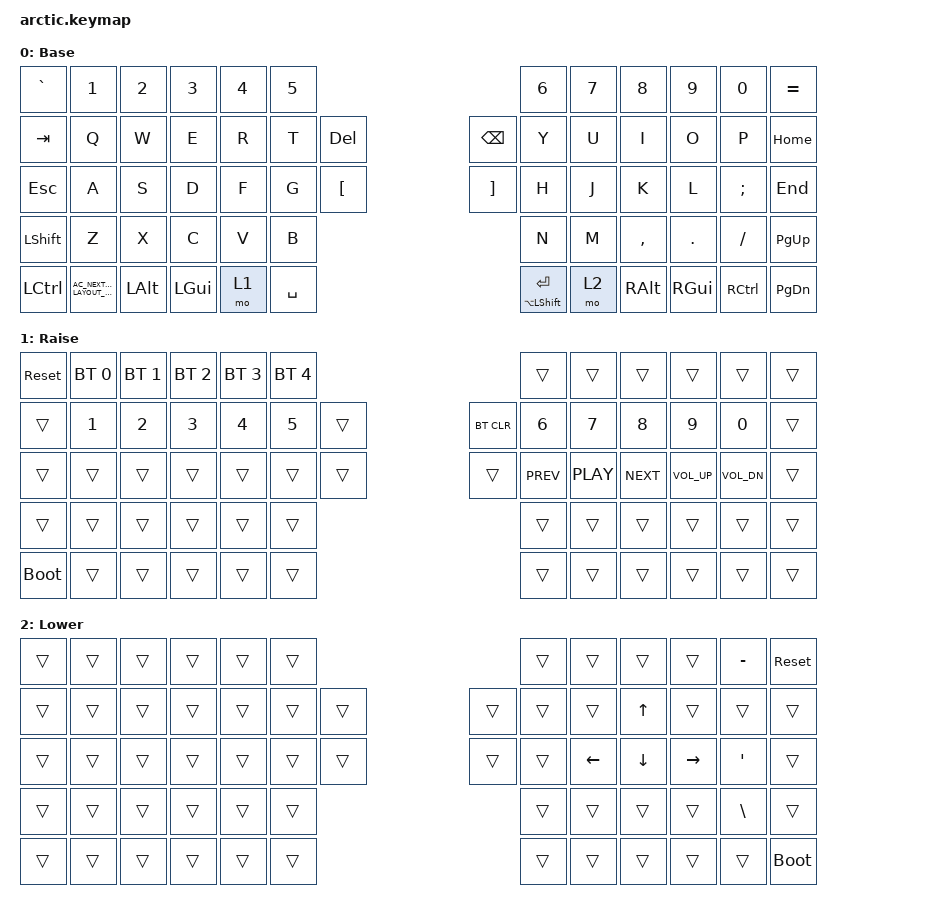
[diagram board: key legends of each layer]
/*
 * Copyright (c) 2020 The ZMK Contributors
 *
 * SPDX-License-Identifier: MIT
 */

#include <behaviors.dtsi>
#include <dt-bindings/zmk/keys.h>
#include <dt-bindings/zmk/bt.h>

/ {
        keymap {
                compatible = "zmk,keymap";

                base_layer {
                        display-name = "Base";
// -----------------------------------------------------------------------------------------
// | `~     |  1      |  2   |  3      |  4     |  5   |                                                                         |  6  |    7      |  8  |  9  |  0   | PLUS   |
// | TAB    |  Q      |  W   |  E      |  R     |  T   | DEL |                                                 | BKS             |  Y  |    U      |  I  |  O  |  P   | HOME   |
// | ESC    |  A      |  S   |  D      |  F     |  G   |  [                                                    |  ]              |  H  |    J      |  K  |  L  |  ;   | END    |
// | SHIFT  |  Z      |  X   |  C      |  V     |  B   |                                                                         |  N  |    M      |  ,  |  .  |  \   | PGUP   |
// | CTRL   | GLOBE   |      | ALT     | CMD    | UPP  | SPC |                                                 | ENT             | LWR |   ALT     | CMD |     | CTRL | PGDOWN |
                        bindings = <
   &kp GRAVE &kp N1    &kp N2 &kp N3    &kp N4   &kp N5                                                                           &kp N6  &kp N7    &kp N8     &kp N9   &kp N0    &kp EQUAL
   &kp TAB   &kp Q     &kp W  &kp E     &kp R    &kp T  &kp DEL                                                 &kp BSPC          &kp Y   &kp U     &kp I      &kp O    &kp P     &kp HOME
   &kp ESC   &kp A     &kp S  &kp D     &kp F    &kp G  &kp LEFT_BRACKET                                        &kp RIGHT_BRACKET &kp H   &kp J     &kp K      &kp L    &kp SEMI  &kp END
   &kp LSHFT &kp Z     &kp X  &kp C     &kp V    &kp B                                                                            &kp N   &kp M     &kp COMMA  &kp DOT  &kp FSLH  &kp PAGE_UP
   &kp LCTRL &kp C_AC_NEXT_KEYBOARD_LAYOUT_SELECT            &kp LALT  &kp LGUI &mo 1  &kp SPACE    &mt LA(LSHIFT) RET           &mo 2   &kp RALT  &kp RGUI            &kp RCTRL &kp PAGE_DOWN
                        >;
                };
                raise_layer {
                        display-name = "Raise";
// -----------------------------------------------------------------------------------------
// |  RESET  | BT1         |     BT2     |     BT3     |     BT4     |     BT5    |                        |      |      |      |        |          | |
// |         |      1      |      2      |      3      |      4      |      5     |  |             | BTCLR |  6   |  7   |  8   |    9   |    0     | |
// |         |             |             |             |             |            |  |             |       | PREV | PLAY | NEXT | VOL UP | VOL DOWN | |
// |         |             |             |             |             |            |                        |      |      |      |        |          | |
// |  BOOT   |             |             |             |             |            |  |             |       |      |      |      |        |          | |
                        bindings = <
   &sys_reset  &bt BT_SEL 0  &bt BT_SEL 1  &bt BT_SEL 2  &bt BT_SEL 3  &bt BT_SEL 4                        &trans     &trans     &trans     &trans       &trans       &trans
   &trans      &kp N1        &kp N2        &kp N3        &kp N4        &kp N5        &trans     &bt BT_CLR &kp N6     &kp N7     &kp N8     &kp N9       &kp N0       &trans
   &trans      &trans        &trans        &trans        &trans        &trans        &trans     &trans     &kp C_PREV &kp C_PLAY &kp C_NEXT &kp C_VOL_UP &kp C_VOL_DN &trans
   &trans      &trans        &trans        &trans        &trans        &trans                              &trans     &trans     &trans     &trans       &trans       &trans
   &bootloader               &trans        &trans        &trans        &trans        &trans     &trans     &trans     &trans     &trans     &trans                    &trans
                        >;
                };

                lower_layer {
                        display-name = "Lower";
                        // -----------------------------------------------------------------------------------------
// |  |  |  |  |  |  |                      |     |     |      |       | MINUS | RESET |
// |  |  |  |  |  |  |  |                |  |     |     |  UP  |       |       |       |
// |  |  |  |  |  |  |  |                |  |     | LEFT| DOWN | RIGHT | QUOTE |       |
// |  |  |  |  |  |  |                      |     |     |      |       | BKSLSH|       |
// |  |  |  |  |  |  |  |                |  |     |     |      |       |       |  BOOT |
                        bindings = <
   &trans &trans &trans &trans &trans &trans                      &trans &trans         &trans         &trans          &kp MINUS        &sys_reset
   &trans &trans &trans &trans &trans &trans &trans        &trans &trans &trans         &kp UP_ARROW   &trans          &trans           &trans
   &trans &trans &trans &trans &trans &trans &trans        &trans &trans &kp LEFT_ARROW &kp DOWN_ARROW &kp RIGHT_ARROW &kp SINGLE_QUOTE &trans
   &trans &trans &trans &trans &trans &trans                      &trans &trans         &trans         &trans          &kp BACKSLASH    &trans
   &trans &trans        &trans &trans &trans &trans        &trans &trans &trans         &trans         &trans                           &bootloader
                        >;

                };
        };
};

// TEMPLATE
// --------
//                 raise_layer {
// // -----------------------------------------------------------------------------------------
// // |  |  |  |  |  |  |                   | | | | | | |
// // |  |  |  |  |  |  |  |              | | | | | | | |
// // |  |  |  |  |  |  |  |              | | | | | | | |
// // |  |  |  |  |  |  |                   | | | | | | |
// // |  |  |  |  |  |  |  |              | | | | | | | |
//                         bindings = <
//    &trans &trans &trans &trans &trans &trans                   &trans &trans &trans &trans &trans &trans
//    &trans &trans &trans &trans &trans &trans &trans     &trans &trans &trans &trans &trans &trans &trans
//    &trans &trans &trans &trans &trans &trans &trans     &trans &trans &trans &trans &trans &trans &trans
//    &trans &trans &trans &trans &trans &trans                   &trans &trans &trans &trans &trans &trans
//    &trans        &trans &trans &trans &trans &trans     &trans &trans &trans &trans &trans        &trans
//                         >;
//                 };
